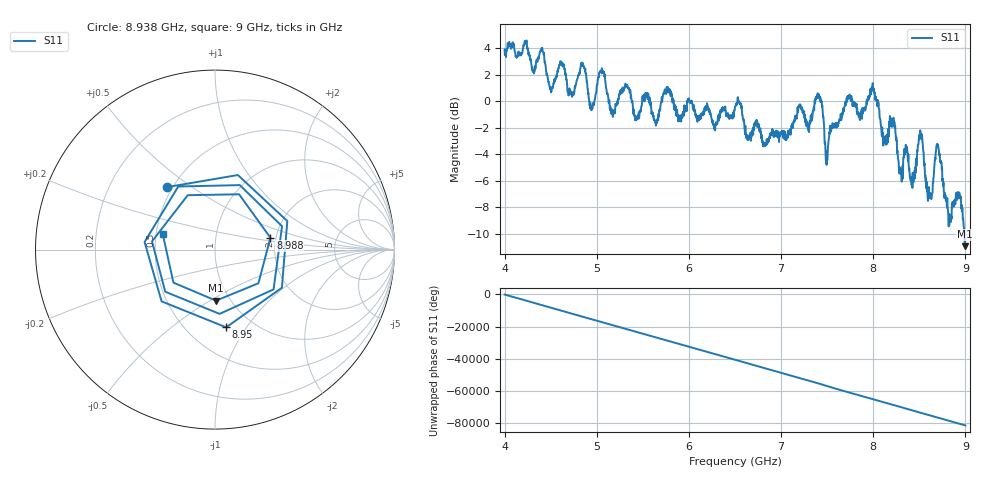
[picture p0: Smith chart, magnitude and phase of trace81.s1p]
! Created with skrf 1.8.0 (http://scikit-rf.org).
# Hz S RI R 50.0
!freq ReS11 ImS11
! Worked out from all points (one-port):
!   1601 points, 4 GHz to 9 GHz, reference 50 ohm
!   lowest |S11| = -10.9 dB at 8.994 GHz (marker M1), VSWR 1.80, Z = 43 - j26.6 ohm
!   |S11| at or under -10 dB: 8.987906 GHz to end of sweep
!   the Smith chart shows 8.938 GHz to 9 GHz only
!   S11 on the Smith chart (normalised r, x): 8.938 GHz: 0.47, +0.40; 8.95 GHz: 0.76, -0.81; 8.988 GHz: 1.87, +0.27; 9 GHz: 0.54, +0.10
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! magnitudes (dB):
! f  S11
! 4 GHz  3.9
! 4.625 GHz  2.8
! 4.731 GHz  0.3
! 4.853 GHz  2.7
! 4.944 GHz  -0.7
! 5.05 GHz  2.3
! 5.166 GHz  -0.7
! 5.25 GHz  0.6
! 5.875 GHz  -1.1
! 6.5 GHz  -0.4
! 6.819 GHz  -3.3
! 7.125 GHz  -1.7
! 7.406 GHz  0.5
! 7.497 GHz  -3.8
! 7.75 GHz  0.2
! 7.994 GHz  1.3
! 8.112 GHz  -3.0
! 8.375 GHz  -4.3
! 8.428 GHz  -5.4
! 8.516 GHz  -2.5
! 8.616 GHz  -7.3
! 8.703 GHz  -3.3
! 8.825 GHz  -9.3
! 8.938 GHz  -7.1
! 8.95 GHz  -7.2
! 8.988 GHz  -10.0
! 8.994 GHz  -10.9
! 9 GHz  -10.4
